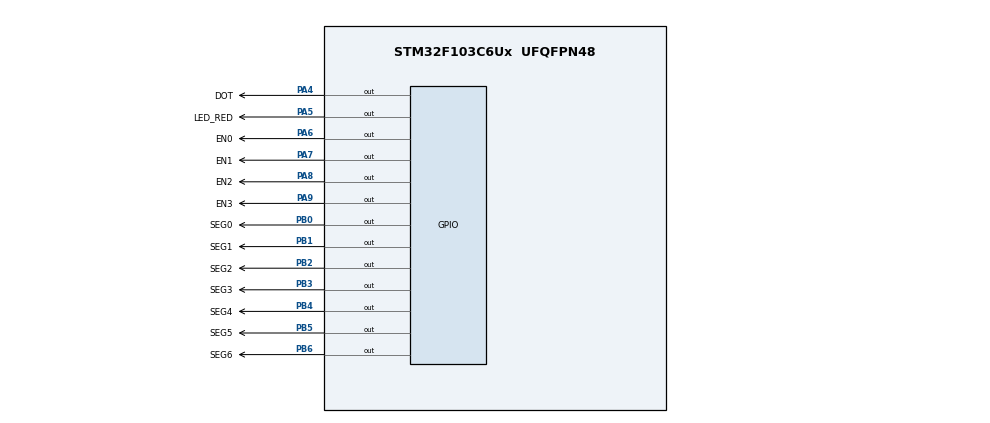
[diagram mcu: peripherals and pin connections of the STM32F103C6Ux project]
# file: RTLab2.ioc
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Mcu.Family=STM32F1
Mcu.Name=STM32F103C6Ux
Mcu.Package=UFQFPN48
NVIC.PriorityGroup=NVIC_PRIORITYGROUP_4
NVIC.TIM2_IRQn=true\:0\:0\:false\:false\:true\:true\:true
PA4.GPIO_Label=DOT
PA4.Signal=GPIO_Output
PA5.GPIO_Label=LED_RED
PA5.Signal=GPIO_Output
PA6.GPIO_Label=EN0
PA6.Signal=GPIO_Output
PA7.GPIO_Label=EN1
PA7.Signal=GPIO_Output
PA8.GPIO_Label=EN2
PA8.Signal=GPIO_Output
PA9.GPIO_Label=EN3
PA9.Signal=GPIO_Output
PB0.GPIO_Label=SEG0
PB0.Signal=GPIO_Output
PB1.GPIO_Label=SEG1
PB1.Signal=GPIO_Output
PB2.GPIO_Label=SEG2
PB2.Signal=GPIO_Output
PB3.GPIO_Label=SEG3
PB3.Signal=GPIO_Output
PB4.GPIO_Label=SEG4
PB4.Signal=GPIO_Output
PB5.GPIO_Label=SEG5
PB5.Signal=GPIO_Output
PB6.GPIO_Label=SEG6
PB6.Signal=GPIO_Output
ProjectManager.HeapSize=0x200
ProjectManager.StackSize=0x400
ProjectManager.TargetToolchain=STM32CubeIDE
RCC.APB1Freq_Value=8000000
RCC.APB2Freq_Value=8000000
TIM2.Period=1
TIM2.Prescaler=7999
VP_SYS_VS_ND.Mode=No_Debug
VP_TIM2_VS_ClockSourceINT.Mode=Internal
board=custom

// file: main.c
/* USER CODE BEGIN Header */
/**
  ******************************************************************************
  * @file           : main.c
  * @brief          : Main program body
  ******************************************************************************
  * @attention
  *
  * <h2><center>&copy; Copyright (c) 2024 STMicroelectronics.
  * All rights reserved.</center></h2>
  *
  * This software component is licensed by ST under BSD 3-Clause license,
  * the "License"; You may not use this file except in compliance with the
  * License. You may obtain a copy of the License at:
  *                        opensource.org/licenses/BSD-3-Clause
  *
  ******************************************************************************
  */
/* USER CODE END Header */
#include "main.h"

/* USER CODE BEGIN Includes */
#include "software_timer.h"
#define SEG0 GPIO_PIN_0
#define SEG1 GPIO_PIN_1
#define SEG2 GPIO_PIN_2
#define SEG3 GPIO_PIN_3
#define SEG4 GPIO_PIN_4
#define SEG5 GPIO_PIN_5
#define SEG6 GPIO_PIN_6

/* USER CODE END Includes */

TIM_HandleTypeDef htim2;

/* USER CODE BEGIN PV */
int status = 0;
volatile uint32_t time_elapsed = 0;
/* USER CODE END PV */

void SystemClock_Config(void);
static void MX_GPIO_Init(void);
static void MX_TIM2_Init(void);
/* USER CODE BEGIN PFP */
void clear7SEG()
{
	HAL_GPIO_WritePin(GPIOB, SEG0 | SEG1 | SEG2 | SEG3 | SEG4 | SEG5 | SEG6, GPIO_PIN_SET);
}
void display7SEG(int num)
{
	clear7SEG();

	switch (num)
	{
		case 0:
			HAL_GPIO_WritePin(GPIOB, SEG0 | SEG1 | SEG2 | SEG3 | SEG4 | SEG5, GPIO_PIN_RESET);
			break;
		case 1:
			HAL_GPIO_WritePin(GPIOB, SEG1 | SEG2 , GPIO_PIN_RESET);
			break;
		case 2:
			HAL_GPIO_WritePin(GPIOB, SEG0 | SEG1 | SEG3 | SEG4 | SEG6, GPIO_PIN_RESET);
			break;
		case 3:
			HAL_GPIO_WritePin(GPIOB, SEG0 | SEG1 | SEG2 | SEG3 | SEG6, GPIO_PIN_RESET);
			break;
		case 4:
			HAL_GPIO_WritePin(GPIOB, SEG1 | SEG2 | SEG5 | SEG6, GPIO_PIN_RESET);
			break;
		case 5:
			HAL_GPIO_WritePin(GPIOB, SEG0 | SEG2 | SEG3 | SEG5 | SEG6, GPIO_PIN_RESET);
			break;
		case 6:
			HAL_GPIO_WritePin(GPIOB, SEG0 | SEG2 | SEG3 | SEG4 | SEG5 | SEG6, GPIO_PIN_RESET);
			break;
		case 7:
			HAL_GPIO_WritePin(GPIOB, SEG0 | SEG1 | SEG2 , GPIO_PIN_RESET);
			break;
		case 8:
			HAL_GPIO_WritePin(GPIOB, SEG0 | SEG1 | SEG2 | SEG3 | SEG4 | SEG5 | SEG6, GPIO_PIN_RESET);
			break;
		case 9:
			HAL_GPIO_WritePin(GPIOB, SEG0 | SEG1 | SEG2 | SEG3 | SEG5 | SEG6, GPIO_PIN_RESET);
			break;
		case 10:
			HAL_GPIO_WritePin(GPIOB, SEG0 | SEG1 | SEG2 | SEG3 | SEG4 | SEG5 | SEG6, GPIO_PIN_SET);
			break;
	}
}
void clearPower()
{
	HAL_GPIO_WritePin(GPIOA, EN0_Pin | EN1_Pin | EN2_Pin | EN3_Pin, GPIO_PIN_SET);
}
/* USER CODE END PFP */

int main(void)
{

  /* MCU Configuration--------------------------------------------------------*/

  /* Reset of all peripherals, Initializes the Flash interface and the Systick. */
  HAL_Init();

  /* Configure the system clock */
  SystemClock_Config();

  /* Initialize all configured peripherals */
  MX_GPIO_Init();
  MX_TIM2_Init();
  /* USER CODE BEGIN 2 */
  HAL_TIM_Base_Start_IT (& htim2 ) ;
  setTimer(0, 500);
  setTimer(1, 1000);
  /* USER CODE END 2 */

  /* Infinite loop */
  /* USER CODE BEGIN WHILE */
  while (1)
   {
	  if (isTimerExpired(0)) {
	      status = (status + 1) % 4;  // Cycle through states 0, 1, 2, 3
	      switch (status) {
	          case 0:
	              clearPower();
	              HAL_GPIO_WritePin(GPIOA, EN0_Pin, GPIO_PIN_RESET);
	              display7SEG(1);
	              break;
	          case 1:
	              clearPower();
	              HAL_GPIO_WritePin(GPIOA, EN1_Pin, GPIO_PIN_RESET);
	              display7SEG(2);
	              break;
	          case 2:
	              clearPower();
	              HAL_GPIO_WritePin(GPIOA, EN2_Pin, GPIO_PIN_RESET);
	              display7SEG(3);
	              break;
	          case 3:
	              clearPower();
	              HAL_GPIO_WritePin(GPIOA, EN3_Pin, GPIO_PIN_RESET);
	              display7SEG(0);
	              break;
	      }
	      setTimer(0, 500);
	  }
 	 if(isTimerExpired(1)){
 		 HAL_GPIO_TogglePin(GPIOA, DOT_Pin);
 		 setTimer(1, 1000);
 	 }
    /* USER CODE END WHILE */

    /* USER CODE BEGIN 3 */
   }
    /* USER CODE BEGIN 3 */
}
  /* USER CODE END 3 */

void SystemClock_Config(void)
{
  RCC_OscInitTypeDef RCC_OscInitStruct = {0};
  RCC_ClkInitTypeDef RCC_ClkInitStruct = {0};

  /** Initializes the RCC Oscillators according to the specified parameters
  * in the RCC_OscInitTypeDef structure.
  */
  RCC_OscInitStruct.OscillatorType = RCC_OSCILLATORTYPE_HSI;
  RCC_OscInitStruct.HSIState = RCC_HSI_ON;
  RCC_OscInitStruct.HSICalibrationValue = RCC_HSICALIBRATION_DEFAULT;
  RCC_OscInitStruct.PLL.PLLState = RCC_PLL_NONE;
  if (HAL_RCC_OscConfig(&RCC_OscInitStruct) != HAL_OK)
  {
    Error_Handler();
  }
  /** Initializes the CPU, AHB and APB buses clocks
  */
  RCC_ClkInitStruct.ClockType = RCC_CLOCKTYPE_HCLK|RCC_CLOCKTYPE_SYSCLK
                              |RCC_CLOCKTYPE_PCLK1|RCC_CLOCKTYPE_PCLK2;
  RCC_ClkInitStruct.SYSCLKSource = RCC_SYSCLKSOURCE_HSI;
  RCC_ClkInitStruct.AHBCLKDivider = RCC_SYSCLK_DIV1;
  RCC_ClkInitStruct.APB1CLKDivider = RCC_HCLK_DIV1;
  RCC_ClkInitStruct.APB2CLKDivider = RCC_HCLK_DIV1;

  if (HAL_RCC_ClockConfig(&RCC_ClkInitStruct, FLASH_LATENCY_0) != HAL_OK)
  {
    Error_Handler();
  }
}

static void MX_TIM2_Init(void)
{

  TIM_ClockConfigTypeDef sClockSourceConfig = {0};
  TIM_MasterConfigTypeDef sMasterConfig = {0};

  htim2.Instance = TIM2;
  htim2.Init.Prescaler = 7999;
  htim2.Init.CounterMode = TIM_COUNTERMODE_UP;
  htim2.Init.Period = 1;
  htim2.Init.ClockDivision = TIM_CLOCKDIVISION_DIV1;
  htim2.Init.AutoReloadPreload = TIM_AUTORELOAD_PRELOAD_DISABLE;
  if (HAL_TIM_Base_Init(&htim2) != HAL_OK)
  {
    Error_Handler();
  }
  sClockSourceConfig.ClockSource = TIM_CLOCKSOURCE_INTERNAL;
  if (HAL_TIM_ConfigClockSource(&htim2, &sClockSourceConfig) != HAL_OK)
  {
    Error_Handler();
  }
  sMasterConfig.MasterOutputTrigger = TIM_TRGO_RESET;
  sMasterConfig.MasterSlaveMode = TIM_MASTERSLAVEMODE_DISABLE;
  if (HAL_TIMEx_MasterConfigSynchronization(&htim2, &sMasterConfig) != HAL_OK)
  {
    Error_Handler();
  }

}

static void MX_GPIO_Init(void)
{
  GPIO_InitTypeDef GPIO_InitStruct = {0};

  /* GPIO Ports Clock Enable */
  __HAL_RCC_GPIOA_CLK_ENABLE();
  __HAL_RCC_GPIOB_CLK_ENABLE();

  /*Configure GPIO pin Output Level */
  HAL_GPIO_WritePin(GPIOA, DOT_Pin|LED_RED_Pin|EN0_Pin|EN1_Pin
                          |EN2_Pin|EN3_Pin, GPIO_PIN_RESET);

  /*Configure GPIO pin Output Level */
  HAL_GPIO_WritePin(GPIOB, SEG0_Pin|SEG1_Pin|SEG2_Pin|SEG3_Pin
                          |SEG4_Pin|SEG5_Pin|SEG6_Pin, GPIO_PIN_RESET);

  /*Configure GPIO pins : DOT_Pin LED_RED_Pin EN0_Pin EN1_Pin
                           EN2_Pin EN3_Pin */
  GPIO_InitStruct.Pin = DOT_Pin|LED_RED_Pin|EN0_Pin|EN1_Pin
                          |EN2_Pin|EN3_Pin;
  GPIO_InitStruct.Mode = GPIO_MODE_OUTPUT_PP;
  GPIO_InitStruct.Pull = GPIO_NOPULL;
  GPIO_InitStruct.Speed = GPIO_SPEED_FREQ_LOW;
  HAL_GPIO_Init(GPIOA, &GPIO_InitStruct);

  /*Configure GPIO pins : SEG0_Pin SEG1_Pin SEG2_Pin SEG3_Pin
                           SEG4_Pin SEG5_Pin SEG6_Pin */
  GPIO_InitStruct.Pin = SEG0_Pin|SEG1_Pin|SEG2_Pin|SEG3_Pin
                          |SEG4_Pin|SEG5_Pin|SEG6_Pin;
  GPIO_InitStruct.Mode = GPIO_MODE_OUTPUT_PP;
  GPIO_InitStruct.Pull = GPIO_NOPULL;
  GPIO_InitStruct.Speed = GPIO_SPEED_FREQ_LOW;
  HAL_GPIO_Init(GPIOB, &GPIO_InitStruct);

}

/* USER CODE BEGIN 4 */
	int counter = 100;
	void HAL_TIM_PeriodElapsedCallback ( TIM_HandleTypeDef * htim )
	{
		timerRun();
	}

/* USER CODE END 4 */

void Error_Handler(void)
{
  __disable_irq();
  while (1)
  {
  }
}

/************************ (C) COPYRIGHT STMicroelectronics *****END OF FILE****/
